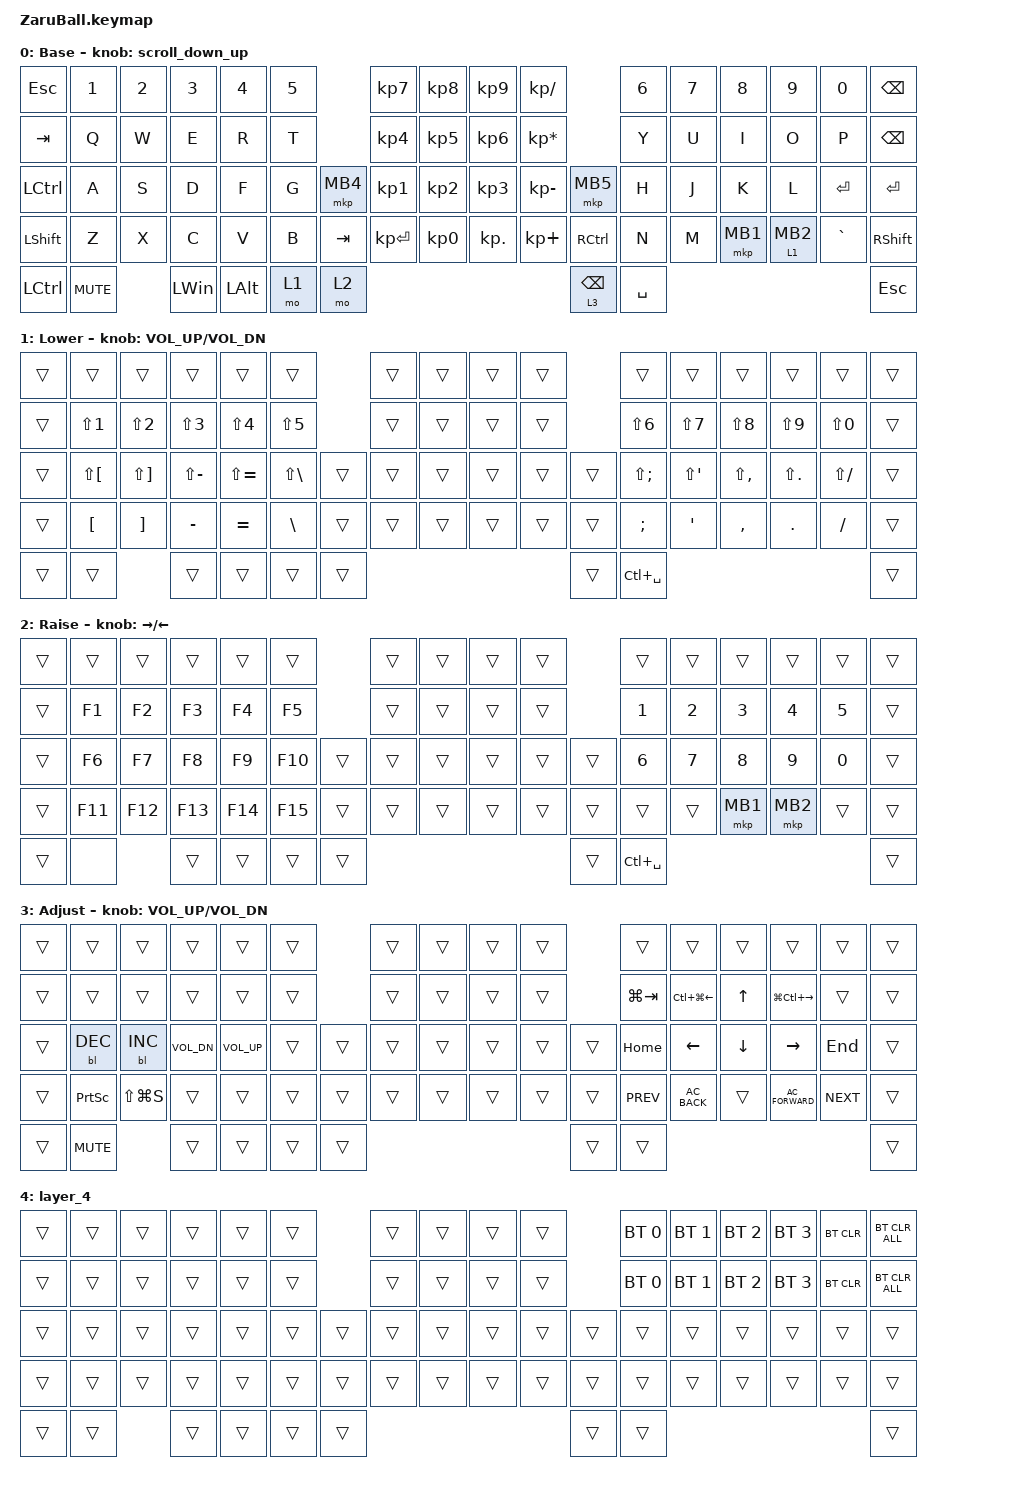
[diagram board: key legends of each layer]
//#include <dt-bindings/zmk/mouse.h>

#include <behaviors/rgbled_widget.dtsi>
#include <behaviors/naginata.dtsi>
#include <behaviors.dtsi>
#include <dt-bindings/zmk/backlight.h>
#include <dt-bindings/zmk/bt.h>
#include <dt-bindings/zmk/keys.h>
#include <dt-bindings/zmk/pointing.h>

#define BASE     0
#define MOUSE    1
#define LOWER    2
#define RAISE    3
#define ADJUST   4
#define SCROLL   2

// スクロール量の設定

#define ZMK_POINTING_DEFAULT_SCRL_VAL 100

/ {
    conditional_layers { compatible = "zmk,conditional-layers"; };
};

/ {
    behaviors {
        // スクロール用のbehaviorの設定

        scroll_down_up: behavior_sensor_rotate_mouse_wheel_down_up {
            compatible = "zmk,behavior-sensor-rotate";
            #sensor-binding-cells = <0>;
            bindings = <&msc SCRL_DOWN>, <&msc SCRL_UP>;

            tap-ms = <20>; // スクロールのタップ時間
        };

        // Customed Hold-Tap for SandS

        SandS: SandS {
            compatible = "zmk,behavior-hold-tap";
            #binding-cells = <2>;
            flavor = "tap-unless-interrupted";
            tapping-term-ms = <500>;
            quick-tap-ms = <500>;
            bindings = <&kp>, <&kp>;

            display-name = "SandS";
        };

        click_scroll: click_scroll {
            compatible = "zmk,behavior-hold-tap";
            label = "CLICK_SCROLL";
            bindings = <&mo>, <&mkp>;

            #binding-cells = <2>;
            tapping-term-ms = <200>;
        };
    };
};

&sl { release-after-ms = <250>; }; // time needed for double click (for mkp_exit_AML)
/ {
    macros {
        // When in AML, move to default layer when key (except mouse button) pressed

        to_layer_0: to_layer_0 {
            compatible = "zmk,behavior-macro-one-param";
            #binding-cells = <1>;
            bindings = <&tog 0 &macro_param_1to1 &kp MACRO_PLACEHOLDER>;
            label = "TO_layer_0";
        };

        // When LCLK pressed, exit AML (after 250ms cause by sticky layer

        mkp_exit_AML: mkp_exit_AML {
            compatible = "zmk,behavior-macro-one-param";
            #binding-cells = <1>;
            bindings =
                <&macro_press>,
                <&macro_param_1to1 &mkp MACRO_PLACEHOLDER>,
                <&macro_pause_for_release>,
                <&macro_release>,
                <&macro_param_1to1 &mkp MACRO_PLACEHOLDER>,
                <&macro_tap>,
                <&sl 0>;

            label = "MKP_EXIT_AML";
        };
    };
};

/ {
    combos {
        compatible = "zmk,combos";

        bt_layer {
            bindings = <&mo 4>;
            key-positions = <72 73>;
        };
    };

    keymap {
        compatible = "zmk,keymap";

        base_layer {
            display-name = "Base";
            sensor-bindings = <&scroll_down_up>;
            bindings = <
&kp ESC           &kp N1      &kp N2  &kp N3    &kp N4        &kp N5              &kp KP_N7     &kp KP_N8  &kp KP_N9   &kp KP_DIVIDE                         &kp NUMBER_6  &kp N7  &kp N8    &kp N9               &kp N0     &kp BACKSPACE
&kp TAB           &kp Q       &kp W   &kp E     &kp R         &kp T               &kp KP_N4     &kp KP_N5  &kp KP_N6   &kp KP_MULTIPLY                       &kp Y         &kp U   &kp I     &kp O                &kp P      &kp BACKSPACE
&kp LCTRL         &kp A       &kp S   &kp D     &kp F         &kp G   &mkp MB4    &kp KP_N1     &kp KP_N2  &kp KP_N3   &kp KP_MINUS       &mkp MB5           &kp H         &kp J   &kp K     &kp L                &kp ENTER  &kp ENTER
&kp LSHFT         &kp Z       &kp X   &kp C     &kp V         &kp B   &kp TAB     &kp KP_ENTER  &kp KP_N0  &kp KP_DOT  &kp KP_PLUS        &kp RIGHT_CONTROL  &kp N         &kp M   &mkp MB1  &click_scroll 1 MB2  &kp GRAVE  &kp RIGHT_SHIFT
&kp LEFT_CONTROL  &kp C_MUTE          &kp LWIN  &kp LEFT_ALT  &mo 1   &mo 2                                                               &lt 3 BACKSPACE    &kp SPACE                                                       &kp ESCAPE
            >;
        };

        lower_layer {
            display-name = "Lower";
            sensor-bindings = <&inc_dec_kp C_VOL_UP C_VOL_DN>;
            bindings = <
&trans  &trans                &trans                 &trans            &trans            &trans                       &trans  &trans  &trans  &trans            &trans            &trans                &trans            &trans            &trans            &trans
&trans  &kp LS(NUMBER_1)      &kp LS(NUMBER_2)       &kp LS(NUMBER_3)  &kp LS(NUMBER_4)  &kp LS(NUMBER_5)             &trans  &trans  &trans  &trans            &kp LS(NUMBER_6)  &kp LS(NUMBER_7)      &kp LS(NUMBER_8)  &kp LS(NUMBER_9)  &kp LS(NUMBER_0)  &trans
&trans  &kp LS(LEFT_BRACKET)  &kp LS(RIGHT_BRACKET)  &kp LS(MINUS)     &kp LS(EQUAL)     &kp LS(BACKSLASH)  &trans    &trans  &trans  &trans  &trans    &trans  &kp LS(SEMI)      &kp LS(SINGLE_QUOTE)  &kp LS(COMMA)     &kp LS(PERIOD)    &kp LS(SLASH)     &trans
&trans  &kp LEFT_BRACKET      &kp RIGHT_BRACKET      &kp MINUS         &kp EQUAL         &kp BACKSLASH      &trans    &trans  &trans  &trans  &trans    &trans  &kp SEMICOLON     &kp SINGLE_QUOTE      &kp COMMA         &kp PERIOD        &kp SLASH         &trans
&trans  &trans                                       &trans            &trans            &trans             &trans                                      &trans  &kp LC(SPACE)                                                                                 &trans
            >;
        };

        raise_layer {
            display-name = "Raise";
            sensor-bindings = <&inc_dec_kp RIGHT LEFT>;
            bindings = <
&trans  &trans   &trans   &trans   &trans   &trans             &trans  &trans  &trans  &trans            &trans         &trans  &trans    &trans    &trans  &trans
&trans  &kp F1   &kp F2   &kp F3   &kp F4   &kp F5             &trans  &trans  &trans  &trans            &kp N1         &kp N2  &kp N3    &kp N4    &kp N5  &trans
&trans  &kp F6   &kp F7   &kp F8   &kp F9   &kp F10  &trans    &trans  &trans  &trans  &trans    &trans  &kp N6         &kp N7  &kp N8    &kp N9    &kp N0  &trans
&trans  &kp F11  &kp F12  &kp F13  &kp F14  &kp F15  &trans    &trans  &trans  &trans  &trans    &trans  &trans         &trans  &mkp MB1  &mkp MB2  &trans  &trans
&trans  &none             &trans   &trans   &trans   &trans                                      &trans  &kp LC(SPACE)                                      &trans
            >;
        };

        adjust_layer {
            display-name = "Adjust";
            sensor-bindings = <&inc_dec_kp C_VOL_UP C_VOL_DN>;
            bindings = <
&trans  &trans           &trans         &trans        &trans        &trans            &trans  &trans  &trans  &trans            &trans       &trans                  &trans          &trans                   &trans      &trans
&trans  &trans           &trans         &trans        &trans        &trans            &trans  &trans  &trans  &trans            &kp LG(TAB)  &kp LC(LG(LEFT_ARROW))  &kp UP_ARROW    &kp LG(LC(RIGHT_ARROW))  &trans      &trans
&trans  &bl BL_DEC       &bl BL_INC     &kp C_VOL_DN  &kp C_VOL_UP  &trans  &trans    &trans  &trans  &trans  &trans    &trans  &kp HOME     &kp LEFT_ARROW          &kp DOWN_ARROW  &kp RIGHT_ARROW          &kp END     &trans
&trans  &kp PRINTSCREEN  &kp LS(LG(S))  &trans        &trans        &trans  &trans    &trans  &trans  &trans  &trans    &trans  &kp C_PREV   &kp C_AC_BACK           &trans          &kp C_AC_FORWARD         &kp C_NEXT  &trans
&trans  &kp C_MUTE                      &trans        &trans        &trans  &trans                                      &trans  &trans                                                                                    &trans
            >;
        };

        // Extra layer can be added in ZMK STUDIO

        layer_4 {
            bindings = <
&trans  &trans  &trans  &trans  &trans  &trans            &trans  &trans  &trans  &trans            &bt BT_SEL 0  &bt BT_SEL 1  &bt BT_SEL 2  &bt BT_SEL 3  &bt BT_CLR  &bt BT_CLR_ALL
&trans  &trans  &trans  &trans  &trans  &trans            &trans  &trans  &trans  &trans            &bt BT_SEL 0  &bt BT_SEL 1  &bt BT_SEL 2  &bt BT_SEL 3  &bt BT_CLR  &bt BT_CLR_ALL
&trans  &trans  &trans  &trans  &trans  &trans  &trans    &trans  &trans  &trans  &trans    &trans  &trans        &trans        &trans        &trans        &trans      &trans
&trans  &trans  &trans  &trans  &trans  &trans  &trans    &trans  &trans  &trans  &trans    &trans  &trans        &trans        &trans        &trans        &trans      &trans
&trans  &trans          &trans  &trans  &trans  &trans                                      &trans  &trans                                                              &trans
            >;
        };
    };
};
